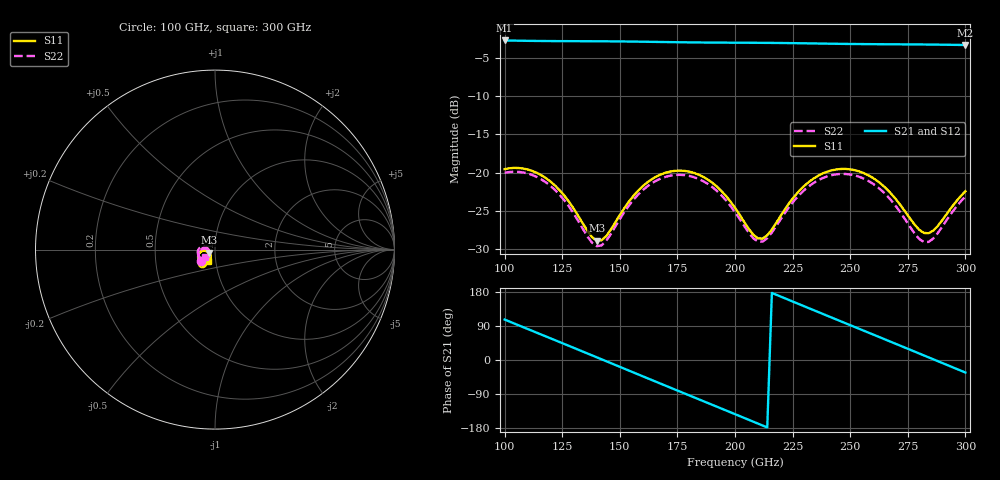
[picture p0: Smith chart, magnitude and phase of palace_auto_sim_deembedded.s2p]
! Created with skrf 1.11.0 (http://scikit-rf.org).
# GHz S DB R 50.0
!freq dBS11 angS11 dBS21 angS21 dBS12 angS12 dBS22 angS22
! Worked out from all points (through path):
!   101 points, 100 GHz to 300 GHz, reference 50 ohm
!   highest |S21| = -2.68 dB at 100 GHz (marker M1); lowest = -3.3 dB at 300 GHz (marker M2)
!   group delay of S21, straight-line fit = 6.94 ps
!   lowest |S11| = -28.9 dB at 140 GHz (marker M3), VSWR 1.07, Z = 46.9 - j1.59 ohm
!   |S11| at or under -10 dB: start of sweep to end of sweep
!   |S22| runs from -29.6 to -19.9 dB; largest |S21 - S12| = 1.2e-13
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100  -19.54 -134.3  -2.68 106.7  -2.68 106.7  -20.03 -140.8
108  -19.46 -149.0  -2.72 86.8  -2.72 86.8  -19.97 -156.4
116  -20.35 -162.9  -2.75 66.9  -2.75 66.9  -20.90 -171.0
126  -23.04 -175.3  -2.77 42.1  -2.77 42.1  -23.66 175.7
134  -26.69 -172.6  -2.78 22.1  -2.78 22.1  -27.40 178.1
140  -28.92 -151.8  -2.78 7.1  -2.78 7.1  -29.64 -160.6
144  -28.36 -133.4  -2.79 -2.9  -2.79 -2.9  -28.98 -142.2
154  -23.77 -119.2  -2.82 -28.1  -2.82 -28.1  -24.29 -129.4
168  -20.22 -135.3  -2.88 -63.1  -2.88 -63.1  -20.75 -147.1
176  -19.74 -148.4  -2.91 -83.1  -2.91 -83.1  -20.29 -160.9
184  -20.24 -161.3  -2.94 -103.0  -2.94 -103.0  -20.80 -174.4
200  -24.61 -176.3  -2.97 -142.9  -2.97 -142.9  -25.17 169.5
208  -28.16 -161.4  -2.98 -162.9  -2.98 -162.9  -28.62 -176.0
212  -28.64 -143.6  -2.99 -172.9  -2.99 -172.9  -29.04 -159.0
222  -24.65 -119.1  -3.02 162.0  -3.02 162.0  -25.13 -136.5
234  -20.79 -127.6  -3.07 131.9  -3.07 131.9  -21.37 -146.2
250  -19.57 -151.8  -3.14 92.0  -3.14 92.0  -20.24 -171.9
258  -20.37 -163.6  -3.16 72.1  -3.16 72.1  -21.11 175.5
268  -22.83 -173.6  -3.18 47.1  -3.18 47.1  -23.71 164.4
280  -27.50 -159.6  -3.20 17.1  -3.20 17.1  -28.71 179.1
284  -27.95 -144.0  -3.21 7.1  -3.21 7.1  -29.08 -164.1
300  -22.44 -122.0  -3.28 -33.1  -3.28 -33.1  -23.13 -143.9
